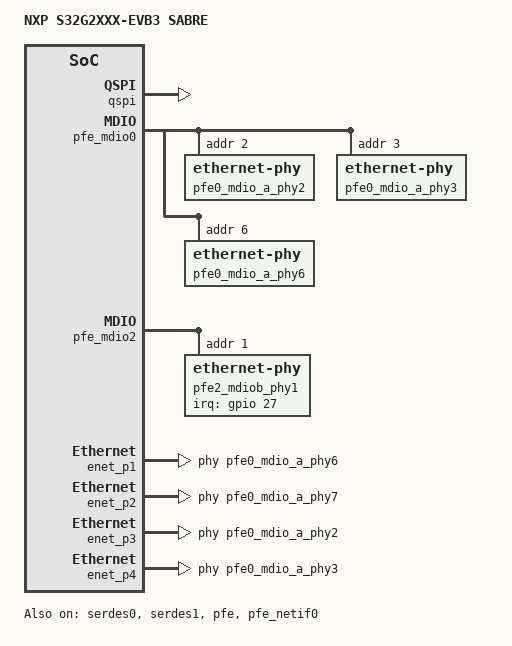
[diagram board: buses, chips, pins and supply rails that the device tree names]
// SPDX-License-Identifier: GPL-2.0-or-later
/*
 * Copyright 2024 NXP
 *
 * Device tree for S32G2 EVB3 with PFE0 routed to SJA1105 and PFE2 routed to
 * J93.
 * Required hardware changes for S32G-PROCEVB3-S (SCH-50784):
 * - Jumper J169 must be configured as 4-6 and 3-5 (interrupts requirement)
 * - Resistors R[555, 566] must be moved to postion B
 * Required hardware changes for S32GRV-PLATEVB (SCH-30081):
 * - J91 must be closed (interrupts requirement)
 */
/dts-v1/;

#include <dt-bindings/interrupt-controller/irq.h>
#include "s32g2xxa-evb3.dtsi"

/ {
	model = "NXP S32G2XXX-EVB3 SABRE";
};

&qspi {
	status = "okay";
};

&serdes0 {
	status = "okay";
};

&serdes1 {
	status = "okay";
};

&can2 {
	/* Conflict with PB 11 - PHY IRQ */
	status = "disabled";
};

&usbotg {
	/* Conflict with PFE2 */
	status = "disabled";
};

&usbmisc {
	/* Conflict with PFE2 */
	status = "disabled";
};

&pfe {
	status = "okay";
	pinctrl-names = "default";
	pinctrl-0 = <&pfe0_mdioa_pins>, <&pfe0_rgmiia_pins>,
		<&pfe2_mdiob_pins>, <&pfe2_rgmiib_pins>;
};

&pfe_netif0 {
	phy-mode = "rgmii";
	status = "okay";

	/delete-node/ phy-handle;

	fixed-link {
		speed = <1000>;
		full-duplex;
	};
};

&pfe_netif2 {
	phy-mode = "rgmii-id";
	phy-handle = <&pfe2_mdiob_phy1>;

	/delete-node/ fixed-link;
};

&pfe_mdio0 {
	status = "okay";

	/* KSZ9031RNX over SJA1105Q P3 */
	pfe0_mdio_a_phy2: ethernet-phy@2 {
		reg = <2>;
	};
	/* KSZ9031RNX over SJA1105Q P4 */
	pfe0_mdio_a_phy3: ethernet-phy@3 {
		reg = <3>;
	};

	/* TJA1102 over SJA1105Q P1 */
	pfe0_mdio_a_phy6: ethernet-phy@6 {
		#address-cells = <1>;
		#size-cells = <0>;
		reg = <6>;

		/* TJA1102 over SJA1105Q P2 */
		pfe0_mdio_a_phy7: ethernet-phy@7 {
			reg = <7>;
		};
	};
};

&pfe_mdio2 {
	status = "okay";

	/* Change PHY address in case of mismatch at probing. */
	pfe2_mdiob_phy1: ethernet-phy@1 {
		interrupt-parent = <&gpio>;
		interrupts = <27 IRQ_TYPE_EDGE_FALLING>;
		reg = <1>;
	};
};

&pinctrl {
	pfe0_mdioa_pins: pfe0_mdioa_pins {
		pfe0_mdioa_grp0 {
			pinmux = <S32CC_PINMUX(79, FUNC1)>;
			drive-open-drain;
			output-enable;
			input-enable;
			slew-rate = <S32CC_FAST_SLEW_166MHZ>;
		};

		pfe0_mdioa_grp1 {
			pinmux = <S32CC_PINMUX(82, FUNC1)>;
			output-enable;
			slew-rate = <S32CC_FAST_SLEW_166MHZ>;
		};

		pfe0_mdioa_grp2 {
			pinmux = <S32CC_PINMUX(837, FUNC2)>;
		};

	};

	pfe0_rgmiia_pins: pfe0_rgmiia_pins {
		pfe0_rgmiia_grp0 {
			pinmux = <S32CC_PINMUX(78, FUNC1)>,
				 <S32CC_PINMUX(113, FUNC1)>,
				 <S32CC_PINMUX(114, FUNC1)>,
				 <S32CC_PINMUX(115, FUNC1)>,
				 <S32CC_PINMUX(144, FUNC1)>;
			output-enable;
			slew-rate = <S32CC_FAST_SLEW_166MHZ>;
		};

		pfe0_rgmiia_grp1 {
			pinmux = <S32CC_PINMUX(116, FUNC0)>,
				 <S32CC_PINMUX(117, FUNC0)>,
				 <S32CC_PINMUX(118, FUNC0)>,
				 <S32CC_PINMUX(119, FUNC0)>,
				 <S32CC_PINMUX(120, FUNC0)>,
				 <S32CC_PINMUX(121, FUNC0)>;
			input-enable;
			slew-rate = <S32CC_FAST_SLEW_166MHZ>;
		};

		pfe0_rgmiia_grp2 {
			pinmux = <S32CC_PINMUX(122, FUNC1)>;
			output-enable;
			slew-rate = <S32CC_FAST_SLEW_166MHZ>;
			bias-pull-up;
		};

		pfe0_rgmiia_grp3 {
			pinmux = <S32CC_PINMUX(839, FUNC2)>,
				 <S32CC_PINMUX(845, FUNC2)>,
				 <S32CC_PINMUX(841, FUNC2)>,
				 <S32CC_PINMUX(842, FUNC2)>,
				 <S32CC_PINMUX(843, FUNC2)>,
				 <S32CC_PINMUX(844, FUNC2)>;
		};

	};

	pfe2_mdiob_pins: pfe2_mdio_pins {
		pfe2_mdiob_grp0 {
			pinmux = <S32CC_PINMUX(80, FUNC1)>;
			output-enable;
			slew-rate = <S32CC_FAST_SLEW_166MHZ>;
		};

		pfe2_mdiob_grp1 {
			pinmux = <S32CC_PINMUX(81, FUNC2)>;
			drive-open-drain;
			output-enable;
			input-enable;
			slew-rate = <S32CC_FAST_SLEW_166MHZ>;
		};

		pfe2_mdiob_grp2 {
			pinmux = <S32CC_PINMUX(877, FUNC2)>;
		};
	};

	pfe2_rgmiib_pins: pfe2_rgmiib_pins {
		pfe2_rgmiib_grp0 {
			pinmux = <S32CC_PINMUX(185, FUNC5)>,
			<S32CC_PINMUX(186, FUNC4)>,
			<S32CC_PINMUX(187, FUNC2)>,
			<S32CC_PINMUX(62, FUNC4)>,
			<S32CC_PINMUX(63, FUNC5)>;
			output-enable;
			slew-rate = <S32CC_FAST_SLEW_166MHZ>;
		};

		pfe2_rgmiib_grp1 {
			pinmux = <S32CC_PINMUX(64, FUNC0)>,
			<S32CC_PINMUX(65, FUNC0)>,
			<S32CC_PINMUX(188, FUNC0)>,
			<S32CC_PINMUX(189, FUNC0)>,
			<S32CC_PINMUX(190, FUNC0)>,
			<S32CC_PINMUX(112, FUNC0)>;
			input-enable;
			slew-rate = <S32CC_FAST_SLEW_166MHZ>;
		};

		pfe2_rgmiib_grp2 {
			pinmux = <S32CC_PINMUX(879, FUNC2)>,
			<S32CC_PINMUX(881, FUNC2)>,
			<S32CC_PINMUX(882, FUNC2)>,
			<S32CC_PINMUX(883, FUNC2)>,
			<S32CC_PINMUX(884, FUNC2)>,
			<S32CC_PINMUX(885, FUNC2)>,
			<S32CC_PINMUX(886, FUNC2)>;
		};

		pfe2_rgmiib_grp3 {
			pinmux = <S32CC_PINMUX(184, FUNC5)>;
			output-enable;
			slew-rate = <S32CC_FAST_SLEW_166MHZ>;
		};
	};
};

&sw0_p0 {
	ethernet = <&pfe_netif0>;
};

&enet_p1 {
	phy-handle = <&pfe0_mdio_a_phy6>;
};

&enet_p2 {
	phy-handle = <&pfe0_mdio_a_phy7>;
};

&enet_p3 {
	phy-handle = <&pfe0_mdio_a_phy2>;
};

&enet_p4 {
	phy-handle = <&pfe0_mdio_a_phy3>;
};
